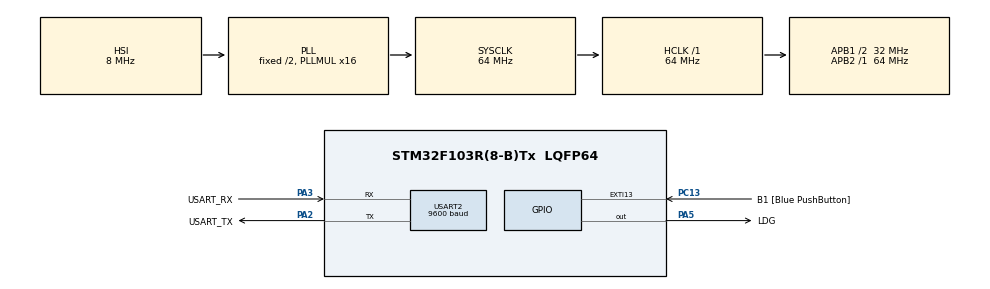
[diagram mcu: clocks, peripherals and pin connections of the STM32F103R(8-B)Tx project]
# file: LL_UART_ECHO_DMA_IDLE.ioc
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Mcu.Family=STM32F1
PC15-OSC32_OUT.Mode=LSE-External-Oscillator
NVIC.DMA1_Channel6_IRQn=true\:3\:0\:true\:false\:true\:false\:true
PA2.GPIO_PuPd=GPIO_NOPULL
Dma.USART2_TX.1.Priority=DMA_PRIORITY_LOW
PD1-OSC_OUT.Mode=HSE-External-Clock-Source
Dma.USART2_TX.1.MemInc=DMA_MINC_ENABLE
PA14.GPIO_Label=TCK
PA3.GPIO_PuPd=GPIO_NOPULL
PA2.GPIO_Speed=GPIO_SPEED_FREQ_LOW
Dma.USART2_RX.0.Direction=DMA_PERIPH_TO_MEMORY
PC13-TAMPER-RTC.Signal=GPXTI13
PD0-OSC_IN.Signal=RCC_OSC_IN
RCC.APB1CLKDivider=RCC_HCLK_DIV2
PC14-OSC32_IN.Signal=RCC_OSC32_IN
PA3.GPIO_Speed=GPIO_SPEED_FREQ_LOW
Dma.USART2_TX.1.PeriphDataAlignment=DMA_PDATAALIGN_BYTE
NVIC.USART2_IRQn=true\:5\:0\:true\:false\:true\:true\:true
USART2.BaudRate=9600
RCC.SYSCLKSource=RCC_SYSCLKSOURCE_PLLCLK
ProjectManager.StackSize=0x400
Dma.USART2_RX.0.Mode=DMA_NORMAL
PD1-OSC_OUT.Signal=RCC_OSC_OUT
PA3.Mode=Asynchronous
PA13.Signal=SYS_JTMS-SWDIO
ProjectManager.TargetToolchain=STM32CubeIDE
Dma.USART2_RX.0.Priority=DMA_PRIORITY_LOW
PA3.GPIO_Mode=GPIO_MODE_AF_PP
Dma.USART2_RX.0.PeriphDataAlignment=DMA_PDATAALIGN_BYTE
RCC.HCLKFreq_Value=64000000
RCC.APB2TimFreq_Value=64000000
Dma.USART2_TX.1.Mode=DMA_NORMAL
RCC.USBFreq_Value=64000000
PC15-OSC32_OUT.Signal=RCC_OSC32_OUT
RCC.AHBFreq_Value=64000000
PD0-OSC_IN.Mode=HSE-External-Clock-Source
NVIC.EXTI15_10_IRQn=true\:0\:0\:false\:false\:true\:true\:true
PA5.Signal=GPIO_Output
Dma.USART2_TX.1.PeriphInc=DMA_PINC_DISABLE
board=NUCLEO-F103RB
RCC.RTCClockSelection=RCC_RTCCLKSOURCE_LSE
PC13-TAMPER-RTC.GPIO_Label=B1 [Blue PushButton]
RCC.PLLMUL=RCC_PLL_MUL16
Dma.USART2_TX.1.Direction=DMA_MEMORY_TO_PERIPH
RCC.APB2Freq_Value=64000000
Dma.USART2_RX.0.MemDataAlignment=DMA_MDATAALIGN_BYTE
PC14-OSC32_IN.Mode=LSE-External-Oscillator
PA5.GPIO_ModeDefaultOutputPP=GPIO_MODE_OUTPUT_PP
PA14.Mode=Serial_Wire
Dma.USART2_TX.1.Instance=DMA1_Channel7
PA5.GPIO_PuPd=GPIO_NOPULL
Dma.USART2_RX.0.Instance=DMA1_Channel6
PA13.Mode=Serial_Wire
Mcu.Name=STM32F103R(8-B)Tx
Dma.USART2_RX.0.MemInc=DMA_MINC_ENABLE
PA2.Signal=USART2_TX
PA13.GPIO_Label=TMS
PB3.Signal=SYS_JTDO-TRACESWO
RCC.SYSCLKFreq_VALUE=64000000
Mcu.Package=LQFP64
PA5.GPIO_Label=LDG
Dma.USART2_RX.0.PeriphInc=DMA_PINC_DISABLE
USART2.VirtualMode=VM_ASYNC
PC13-TAMPER-RTC.GPIO_PuPd=GPIO_NOPULL
PA2.GPIO_Label=USART_TX
PA14.Signal=SYS_JTCK-SWCLK
ProjectManager.HeapSize=0x200
PA5.GPIO_Speed=GPIO_SPEED_FREQ_LOW
NVIC.PriorityGroup=NVIC_PRIORITYGROUP_4
Dma.Request1=USART2_TX
RCC.APB1TimFreq_Value=64000000
PA2.Mode=Asynchronous
NVIC.DMA1_Channel7_IRQn=true\:4\:0\:true\:false\:true\:false\:true
Dma.USART2_TX.1.MemDataAlignment=DMA_MDATAALIGN_BYTE
Dma.Request0=USART2_RX
RCC.APB1Freq_Value=32000000
PA3.GPIO_Label=USART_RX
PA3.Signal=USART2_RX
PA2.GPIO_Mode=GPIO_MODE_AF_PP
PB3.GPIO_Label=SWO

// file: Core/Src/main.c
/* USER CODE BEGIN Header */
/**
  ******************************************************************************
  * @file           : main.c
  * @brief          : Main program body
  ******************************************************************************
  * @attention
  *
  * <h2><center>&copy; Copyright (c) 2021 STMicroelectronics.
  * All rights reserved.</center></h2>
  *
  * This software component is licensed by ST under BSD 3-Clause license,
  * the "License"; You may not use this file except in compliance with the
  * License. You may obtain a copy of the License at:
  *                        opensource.org/licenses/BSD-3-Clause
  *
  ******************************************************************************
  */
/* USER CODE END Header */
#include "main.h"
#include "dma.h"
#include "usart.h"
#include "gpio.h"

/* USER CODE BEGIN Includes */
#include "string.h"
/* USER CODE END Includes */

void SystemClock_Config(void);

/* USER CODE BEGIN 0 */
UART_DMA_Handle_Td TUART2;
uint8_t rx_BUF[1655];
uint8_t tx_BUF[1000];
uint16_t tx_Bsize=0;
uint8_t ex_message[]="Hello Uart\n\r";
/* USER CODE END 0 */

int main(void)
{

  /* MCU Configuration--------------------------------------------------------*/

  /* Reset of all peripherals, Initializes the Flash interface and the Systick. */
  HAL_Init();

  /* Configure the system clock */
  SystemClock_Config();

  /* Initialize all configured peripherals */
  MX_GPIO_Init();
  MX_DMA_Init();
  MX_USART2_UART_Init();
  /* USER CODE BEGIN 2 */

  TUART2.Instance=USART2;
  TUART2.UART_DMA_RX_CHANNEL=LL_DMA_CHANNEL_6;
  TUART2.UART_DMA_TX_CHANNEL=LL_DMA_CHANNEL_7;
  TUART2.ReceiveBufforSize=1655;
  TUART2.UART_DMA_RX_Buffer=rx_BUF;

  Init_LL_USART_IDLE(&TUART2);

  /* USER CODE END 2 */

  /* Infinite loop */
  /* USER CODE BEGIN WHILE */
  while (1)
  {
	  static uint32_t LedTimer=0;
	  if(LedTimer+500 < HAL_GetTick())
	  {
		  LedTimer = HAL_GetTick();

		  HAL_GPIO_TogglePin(LDG_GPIO_Port, LDG_Pin);
//		  TUART_DMA_Trasmit(&TUART2,ex_message, sizeof(ex_message)-1, 0);
	  }
	  //Echo response
	  if(TUART2.Uart_RX_data_ready)
	  {
		  strcpy((char *)tx_BUF,"Received:");

		  uint16_t headerSize = sizeof("Received:")-1;

		  for(int i=0; i< TUART2.NbofRecData; i++)
		  {
			  tx_BUF[headerSize+ i] = TUART2.UART_DMA_RX_Buffer[i];
		  }
		  tx_BUF[headerSize+ TUART2.NbofRecData] = '\n';
		  tx_BUF[headerSize+ TUART2.NbofRecData+1] = '\r';
		  tx_Bsize= headerSize+TUART2.NbofRecData+2;
		  if(TUART_DMA_Trasmit(&TUART2,tx_BUF, tx_Bsize, 10)!= UART_Ok)
		  {
			  //error detected
//			  while(1); //dk, wdg should reset MCU for example
			  //Anyway error detected
		  }

		  TUART2.Uart_RX_data_ready=0;
	  }

    /* USER CODE END WHILE */

  }
}

void SystemClock_Config(void)
{
  RCC_OscInitTypeDef RCC_OscInitStruct = {0};
  RCC_ClkInitTypeDef RCC_ClkInitStruct = {0};

  /** Initializes the RCC Oscillators according to the specified parameters
  * in the RCC_OscInitTypeDef structure.
  */
  RCC_OscInitStruct.OscillatorType = RCC_OSCILLATORTYPE_HSI;
  RCC_OscInitStruct.HSIState = RCC_HSI_ON;
  RCC_OscInitStruct.HSICalibrationValue = RCC_HSICALIBRATION_DEFAULT;
  RCC_OscInitStruct.PLL.PLLState = RCC_PLL_ON;
  RCC_OscInitStruct.PLL.PLLSource = RCC_PLLSOURCE_HSI_DIV2;
  RCC_OscInitStruct.PLL.PLLMUL = RCC_PLL_MUL16;
  if (HAL_RCC_OscConfig(&RCC_OscInitStruct) != HAL_OK)
  {
    Error_Handler();
  }
  /** Initializes the CPU, AHB and APB buses clocks
  */
  RCC_ClkInitStruct.ClockType = RCC_CLOCKTYPE_HCLK|RCC_CLOCKTYPE_SYSCLK
                              |RCC_CLOCKTYPE_PCLK1|RCC_CLOCKTYPE_PCLK2;
  RCC_ClkInitStruct.SYSCLKSource = RCC_SYSCLKSOURCE_PLLCLK;
  RCC_ClkInitStruct.AHBCLKDivider = RCC_SYSCLK_DIV1;
  RCC_ClkInitStruct.APB1CLKDivider = RCC_HCLK_DIV2;
  RCC_ClkInitStruct.APB2CLKDivider = RCC_HCLK_DIV1;

  if (HAL_RCC_ClockConfig(&RCC_ClkInitStruct, FLASH_LATENCY_2) != HAL_OK)
  {
    Error_Handler();
  }
}

void Error_Handler(void)
{
  __disable_irq();
  while (1)
  {
  }
}

/************************ (C) COPYRIGHT STMicroelectronics *****END OF FILE****/
